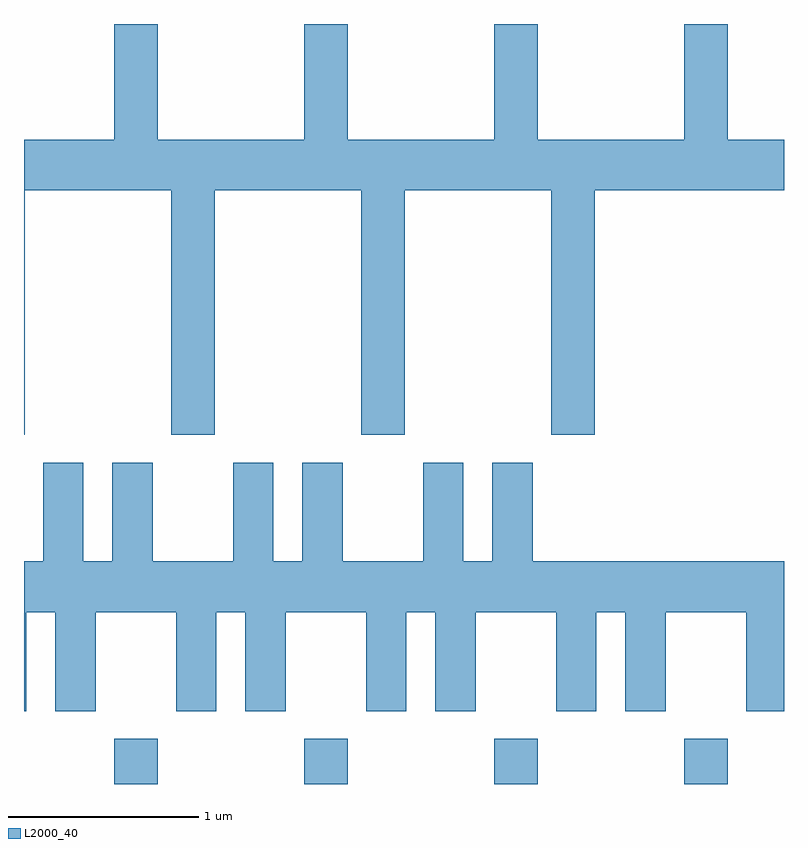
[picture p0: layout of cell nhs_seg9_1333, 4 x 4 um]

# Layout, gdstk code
import gdstk
lib = gdstk.Library(unit=1e-6, precision=1e-09)
def R(c, l, rs):  # rectangles x0, y0, x1, y1
    for r in rs: c.add(gdstk.rectangle(r[:2], r[2:], *l))
def A(c, l, x, y, w, h, nx, ny, dx, dy):  # array of equal rectangles
    R(c, l, [(x+i*dx, y+j*dy, x+i*dx+w, y+j*dy+h) for i in range(nx) for j in range(ny)])
def P(c, l, *ps):  # polygons
    for p in ps: c.add(gdstk.Polygon(p, *l))
L2000_40 = (2000, 40)

nhs_seg9_1333 = lib.new_cell('nhs_seg9_1333')
A(nhs_seg9_1333, L2000_40, 224.086, 2026.432, 0.228, 0.237, 4, 1, 1, 0)
P(nhs_seg9_1333, L2000_40, [(223.614,2029.556),(224.386,2029.556),(224.386,2028.271),(224.614,2028.271),(224.614,2029.556),(225.386,2029.556),(225.386,2028.271),(225.614,2028.271),(225.614,2029.556),(226.386,2029.556),(226.386,2028.271),(226.614,2028.271),(226.614,2029.556),(227.611,2029.556),(227.611,2029.824),(227.314,2029.824),(227.314,2030.432),(227.086,2030.432),(227.086,2029.824),(226.314,2029.824),(226.314,2030.432),(226.086,2030.432),(226.086,2029.824),(225.314,2029.824),(225.314,2030.432),(225.086,2030.432),(225.086,2029.824),(224.314,2029.824),(224.314,2030.432),(224.086,2030.432),(224.086,2029.824),(223.611,2029.824),(223.611,2028.271),(223.614,2028.271)],
  [(225.989,2027.336),(226.411,2027.336),(226.411,2026.816),(226.624,2026.816),(226.624,2027.336),(226.776,2027.336),(226.776,2026.816),(226.989,2026.816),(226.989,2027.336),(227.411,2027.336),(227.411,2026.816),(227.611,2026.816),(227.611,2027.604),(226.289,2027.604),(226.289,2028.124),(226.076,2028.124),(226.076,2027.604),(225.924,2027.604),(225.924,2028.124),(225.711,2028.124),(225.711,2027.604),(225.289,2027.604),(225.289,2028.124),(225.076,2028.124),(225.076,2027.604),(224.924,2027.604),(224.924,2028.124),(224.711,2028.124),(224.711,2027.604),(224.289,2027.604),(224.289,2028.124),(224.076,2028.124),(224.076,2027.604),(223.924,2027.604),(223.924,2028.124),(223.711,2028.124),(223.711,2027.604),(223.611,2027.604),(223.611,2026.816),(223.624,2026.816),(223.624,2027.336),(223.776,2027.336),(223.776,2026.816),(223.989,2026.816),(223.989,2027.336),(224.411,2027.336),(224.411,2026.816),(224.624,2026.816),(224.624,2027.336),(224.776,2027.336),(224.776,2026.816),(224.989,2026.816),(224.989,2027.336),(225.411,2027.336),(225.411,2026.816),(225.624,2026.816),(225.624,2027.336),(225.776,2027.336),(225.776,2026.816),(225.989,2026.816)])

lib.write_gds('nhs_seg9_1333.gds')
